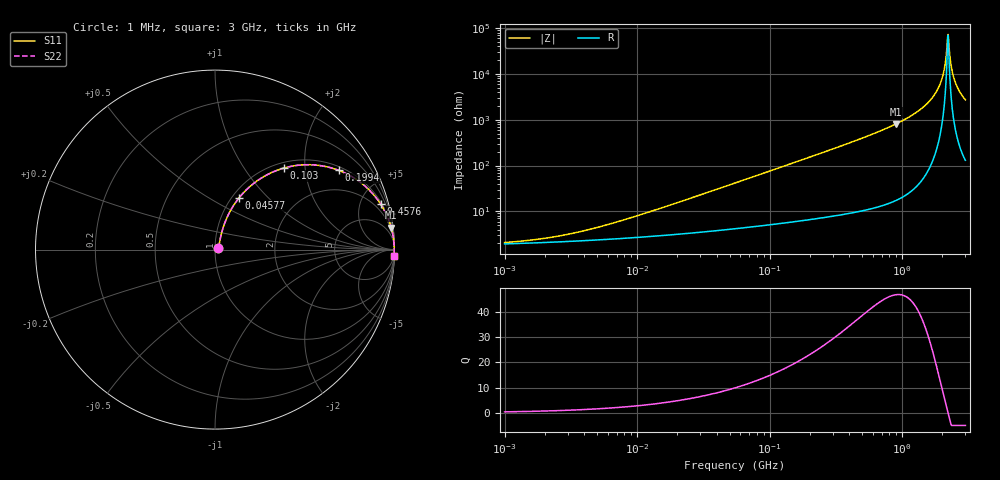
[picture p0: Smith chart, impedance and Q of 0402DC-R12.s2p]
# MHz  S  MA  R  50
!Freq  MagS11  AngS11  MagS21  AngS21  MagS12  AngS12  MagS22  AngS22
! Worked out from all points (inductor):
!   801 points, 1 MHz to 3 GHz, reference 50 ohm
!   read as one part in series: L = 120 nH near 10.94 MHz
!   highest Q = 46.9 at 894.8 MHz (marker M1), where L = 143 nH
!   self-resonance near 2.203 GHz
!   S11 on the Smith chart (normalised r, x): 1 MHz: 1.04, +0.02; 45.77 MHz: 1.08, +0.69; 103 MHz: 1.10, +1.56; 199.4 MHz: 1.13, +3.03; 457.6 MHz: 1.19, +7.21; 3 GHz: 4, -54
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1  0.02048 20.7  0.9809 -0.4  0.9809 -0.4  0.02048 20.7
3.824029  0.03592 50.1  0.9773 -1.6  0.9773 -1.6  0.03592 50.1
14.47755  0.1092 69.0  0.9662 -6.1  0.9662 -6.1  0.1092 69.0
45.77412  0.3173 65.1  0.913 -18.4  0.913 -18.4  0.3173 65.1
54.81117  0.3708 62.6  0.8922 -21.7  0.8922 -21.7  0.3708 62.6
102.9772  0.5962 49.7  0.7645 -36.5  0.7645 -36.5  0.5962 49.7
199.3675  0.8187 32.6  0.5398 -54.9  0.5398 -54.9  0.8187 32.6
209.5995  0.8318 31.4  0.5212 -56.2  0.5212 -56.2  0.8318 31.4
457.5828  0.957 15.4  0.2655 -73.1  0.2655 -73.1  0.957 15.4
793.5315  0.9865 8.3  0.1438 -80.5  0.1438 -80.5  0.9865 8.3
894.8088  0.9898 7.1  0.1228 -81.7  0.1228 -81.7  0.9898 7.1
1348.852  0.9965 3.5  0.06176 -85.0  0.06176 -85.0  0.9965 3.5
1732.382  0.9982 1.7  0.02983 -85.8  0.02983 -85.8  0.9982 1.7
1992.985  0.9986 0.7  0.01287 -83.5  0.01287 -83.5  0.9986 0.7
2074.401  0.9987 0.5  0.008115 -80.4  0.008115 -80.4  0.9987 0.5
2159.143  0.9987 0.2  0.003481 -67.7  0.003481 -67.7  0.9987 0.2
2202.804  0.9987 0.0  0.001562 -32.3  0.001562 -32.3  0.9987 0.0
2269.955  0.9987 -0.2  0.003059 63.9  0.003059 63.9  0.9987 -0.2
2386.455  0.9986 -0.5  0.00884 80.5  0.00884 80.5  0.9986 -0.5
2508.933  0.9985 -0.8  0.0148 83.6  0.0148 83.6  0.9985 -0.8
2718.106  0.9982 -1.4  0.02446 85.0  0.02446 85.0  0.9982 -1.4
3000  0.9976 -2.1  0.03659 85.2  0.03659 85.2  0.9976 -2.1
